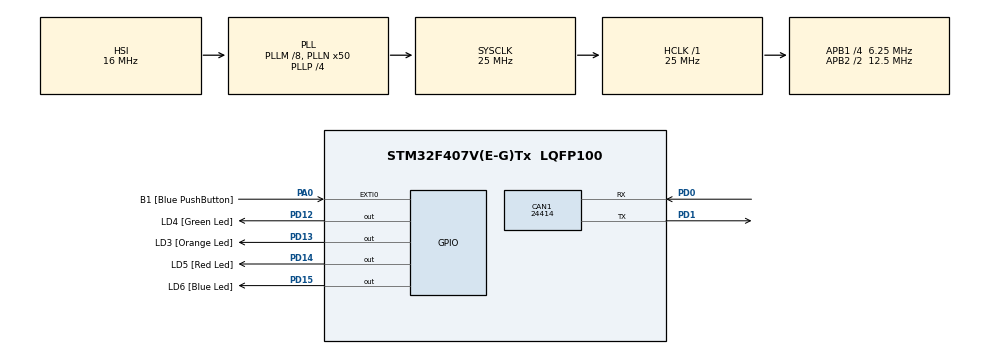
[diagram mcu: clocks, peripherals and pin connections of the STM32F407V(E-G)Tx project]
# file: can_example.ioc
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CAN1.BS1=CAN_BS1_13TQ
CAN1.BS2=CAN_BS2_2TQ
CAN1.CalculateBaudRate=24414
CAN1.CalculateTimeBit=40960
CAN1.CalculateTimeQuantum=2560.0
CAN1.Mode=CAN_MODE_SILENT_LOOPBACK
Mcu.Family=STM32F4
Mcu.Name=STM32F407V(E-G)Tx
Mcu.Package=LQFP100
NVIC.PriorityGroup=NVIC_PRIORITYGROUP_0
PA0-WKUP.GPIO_Label=B1 [Blue PushButton]
PA0-WKUP.Signal=GPXTI0
PA13.GPIO_Label=SWDIO
PA13.Mode=Serial_Wire
PA13.Signal=SYS_JTMS-SWDIO
PA14.GPIO_Label=SWCLK
PA14.Mode=Serial_Wire
PA14.Signal=SYS_JTCK-SWCLK
PD0.GPIO_PuPd=GPIO_PULLUP
PD0.Mode=CAN_Activate
PD0.Signal=CAN1_RX
PD1.GPIO_PuPd=GPIO_NOPULL
PD1.Mode=CAN_Activate
PD1.Signal=CAN1_TX
PD12.GPIO_Label=LD4 [Green Led]
PD12.GPIO_PuPd=GPIO_NOPULL
PD12.GPIO_Speed=GPIO_SPEED_FREQ_LOW
PD12.Signal=GPIO_Output
PD13.GPIO_Label=LD3 [Orange Led]
PD13.GPIO_PuPd=GPIO_NOPULL
PD13.GPIO_Speed=GPIO_SPEED_FREQ_LOW
PD13.Signal=GPIO_Output
PD14.GPIO_Label=LD5 [Red Led]
PD14.GPIO_PuPd=GPIO_NOPULL
PD14.GPIO_Speed=GPIO_SPEED_FREQ_LOW
PD14.Signal=GPIO_Output
PD15.GPIO_Label=LD6 [Blue Led]
PD15.GPIO_PuPd=GPIO_NOPULL
PD15.GPIO_Speed=GPIO_SPEED_FREQ_LOW
PD15.Signal=GPIO_Output
ProjectManager.HeapSize=0x200
ProjectManager.StackSize=0x400
ProjectManager.TargetToolchain=STM32CubeIDE
RCC.48MHZClocksFreq_Value=14285714.285714285
RCC.AHBFreq_Value=25000000
RCC.APB1CLKDivider=RCC_HCLK_DIV4
RCC.APB1Freq_Value=6250000
RCC.APB1TimFreq_Value=12500000
RCC.APB2CLKDivider=RCC_HCLK_DIV2
RCC.APB2Freq_Value=12500000
RCC.APB2TimFreq_Value=25000000
RCC.CortexFreq_Value=25000000
RCC.HCLKFreq_Value=25000000
RCC.HSE_VALUE=8000000
RCC.HSI_VALUE=16000000
RCC.LSE_VALUE=32768
RCC.PLLM=8
RCC.PLLN=50
RCC.PLLP=RCC_PLLP_DIV4
RCC.PLLQ=7
RCC.SYSCLKFreq_VALUE=25000000
RCC.SYSCLKSource=RCC_SYSCLKSOURCE_PLLCLK
RCC.VCOOutputFreq_Value=100000000
board=STM32F407G-DISC1

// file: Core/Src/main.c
/* USER CODE BEGIN Header */
/**
 ******************************************************************************
 * @file           : main.c
 * @brief          : Main program body
 ******************************************************************************
 * @attention
 *
 * Copyright (c) 2022 STMicroelectronics.
 * All rights reserved.
 *
 * This software is licensed under terms that can be found in the LICENSE file
 * in the root directory of this software component.
 * If no LICENSE file comes with this software, it is provided AS-IS.
 *
 ******************************************************************************
 */
/* USER CODE END Header */
#include "main.h"

CAN_HandleTypeDef hcan1;

/* USER CODE BEGIN PV */
static uint32_t tx_mailbox_used;
static uint8_t tx_data[8];
static CAN_RxHeaderTypeDef rx_header;
static uint8_t rx_data[8];
/* USER CODE END PV */

void SystemClock_Config(void);
static void MX_GPIO_Init(void);
static void MX_CAN1_Init(void);
/* USER CODE BEGIN PFP */
static void busy_wait();
/* USER CODE END PFP */

int main(void)
{

	/* MCU Configuration--------------------------------------------------------*/

	/* Reset of all peripherals, Initializes the Flash interface and the Systick. */
	HAL_Init();

	/* Configure the system clock */
	SystemClock_Config();

	/* Initialize all configured peripherals */
	MX_GPIO_Init();
	MX_CAN1_Init();
	/* USER CODE BEGIN 2 */
	if (HAL_CAN_Start(&hcan1) != HAL_OK)
	{
		Error_Handler();
	}
	CAN_TxHeaderTypeDef header;
	header.DLC = 1;
	header.ExtId = 0;
	header.StdId = 2;
	header.IDE = CAN_ID_STD;
	header.RTR = CAN_RTR_DATA;
	header.TransmitGlobalTime = DISABLE;

	/* USER CODE END 2 */

	/* Infinite loop */
	/* USER CODE BEGIN WHILE */
	while (1)
	{
		tx_data[0] = 0x12;

		if (HAL_CAN_AddTxMessage(&hcan1, &header, tx_data, &tx_mailbox_used) != HAL_OK)
		{
			Error_Handler();
		}

		while(HAL_CAN_GetTxMailboxesFreeLevel(&hcan1) != 3) {};

		int msg_count = HAL_CAN_GetRxFifoFillLevel(&hcan1, CAN_RX_FIFO0);

		if (msg_count > 0)
		{
			HAL_CAN_GetRxMessage(&hcan1, CAN_RX_FIFO0, &rx_header, rx_data);

			if (rx_data[0] == 0x12)
			{
				HAL_GPIO_TogglePin(LD4_GPIO_Port, LD6_Pin);
			}
		}

		busy_wait();
		HAL_GPIO_TogglePin(LD4_GPIO_Port, LD4_Pin|LD3_Pin|LD5_Pin);
		/* USER CODE END WHILE */

	}
}

void SystemClock_Config(void)
{
	RCC_OscInitTypeDef RCC_OscInitStruct = {0};
	RCC_ClkInitTypeDef RCC_ClkInitStruct = {0};

	/** Configure the main internal regulator output voltage
	 */
	__HAL_RCC_PWR_CLK_ENABLE();
	__HAL_PWR_VOLTAGESCALING_CONFIG(PWR_REGULATOR_VOLTAGE_SCALE1);

	/** Initializes the RCC Oscillators according to the specified parameters
	 * in the RCC_OscInitTypeDef structure.
	 */
	RCC_OscInitStruct.OscillatorType = RCC_OSCILLATORTYPE_HSI;
	RCC_OscInitStruct.HSIState = RCC_HSI_ON;
	RCC_OscInitStruct.HSICalibrationValue = RCC_HSICALIBRATION_DEFAULT;
	RCC_OscInitStruct.PLL.PLLState = RCC_PLL_ON;
	RCC_OscInitStruct.PLL.PLLSource = RCC_PLLSOURCE_HSI;
	RCC_OscInitStruct.PLL.PLLM = 8;
	RCC_OscInitStruct.PLL.PLLN = 50;
	RCC_OscInitStruct.PLL.PLLP = RCC_PLLP_DIV4;
	RCC_OscInitStruct.PLL.PLLQ = 7;
	if (HAL_RCC_OscConfig(&RCC_OscInitStruct) != HAL_OK)
	{
		Error_Handler();
	}

	/** Initializes the CPU, AHB and APB buses clocks
	 */
	RCC_ClkInitStruct.ClockType = RCC_CLOCKTYPE_HCLK|RCC_CLOCKTYPE_SYSCLK
			|RCC_CLOCKTYPE_PCLK1|RCC_CLOCKTYPE_PCLK2;
	RCC_ClkInitStruct.SYSCLKSource = RCC_SYSCLKSOURCE_PLLCLK;
	RCC_ClkInitStruct.AHBCLKDivider = RCC_SYSCLK_DIV1;
	RCC_ClkInitStruct.APB1CLKDivider = RCC_HCLK_DIV4;
	RCC_ClkInitStruct.APB2CLKDivider = RCC_HCLK_DIV2;

	if (HAL_RCC_ClockConfig(&RCC_ClkInitStruct, FLASH_LATENCY_0) != HAL_OK)
	{
		Error_Handler();
	}
}

static void MX_CAN1_Init(void)
{

	hcan1.Instance = CAN1;
	hcan1.Init.Prescaler = 16;
	hcan1.Init.Mode = CAN_MODE_SILENT_LOOPBACK;
	hcan1.Init.SyncJumpWidth = CAN_SJW_1TQ;
	hcan1.Init.TimeSeg1 = CAN_BS1_13TQ;
	hcan1.Init.TimeSeg2 = CAN_BS2_2TQ;
	hcan1.Init.TimeTriggeredMode = DISABLE;
	hcan1.Init.AutoBusOff = DISABLE;
	hcan1.Init.AutoWakeUp = DISABLE;
	hcan1.Init.AutoRetransmission = DISABLE;
	hcan1.Init.ReceiveFifoLocked = DISABLE;
	hcan1.Init.TransmitFifoPriority = DISABLE;
	if (HAL_CAN_Init(&hcan1) != HAL_OK)
	{
		Error_Handler();
	}
	/* USER CODE BEGIN CAN1_Init 2 */
	CAN_FilterTypeDef can_filter;
	can_filter.FilterIdHigh = 0x0040;
	can_filter.FilterIdLow = 0x0000;
	can_filter.FilterMaskIdHigh = 0xFFFF;
	can_filter.FilterMaskIdLow = 0xFFFF;
	can_filter.FilterFIFOAssignment = CAN_FILTER_FIFO0;
	can_filter.FilterBank = 0;
	can_filter.FilterMode = CAN_FILTERMODE_IDMASK;
	can_filter.FilterScale = CAN_FILTERSCALE_32BIT;
	can_filter.FilterActivation = CAN_FILTER_ENABLE;
	if (HAL_CAN_ConfigFilter(&hcan1, &can_filter) != HAL_OK)
	{
		Error_Handler();
	}

	/* USER CODE END CAN1_Init 2 */

}

static void MX_GPIO_Init(void)
{
	GPIO_InitTypeDef GPIO_InitStruct = {0};

	/* GPIO Ports Clock Enable */
	__HAL_RCC_GPIOA_CLK_ENABLE();
	__HAL_RCC_GPIOD_CLK_ENABLE();

	/*Configure GPIO pin Output Level */
	HAL_GPIO_WritePin(GPIOD, LD4_Pin|LD3_Pin|LD5_Pin|LD6_Pin, GPIO_PIN_RESET);

	/*Configure GPIO pin : B1_Pin */
	GPIO_InitStruct.Pin = B1_Pin;
	GPIO_InitStruct.Mode = GPIO_MODE_IT_RISING;
	GPIO_InitStruct.Pull = GPIO_NOPULL;
	HAL_GPIO_Init(B1_GPIO_Port, &GPIO_InitStruct);

	/*Configure GPIO pins : LD4_Pin LD3_Pin LD5_Pin LD6_Pin */
	GPIO_InitStruct.Pin = LD4_Pin|LD3_Pin|LD5_Pin|LD6_Pin;
	GPIO_InitStruct.Mode = GPIO_MODE_OUTPUT_PP;
	GPIO_InitStruct.Pull = GPIO_NOPULL;
	GPIO_InitStruct.Speed = GPIO_SPEED_FREQ_LOW;
	HAL_GPIO_Init(GPIOD, &GPIO_InitStruct);

}

/* USER CODE BEGIN 4 */
void busy_wait()
{
	int i = 400000;
	while(i--);
}
/* USER CODE END 4 */

void Error_Handler(void)
{
	__disable_irq();
	while (1)
	{
	}
}
